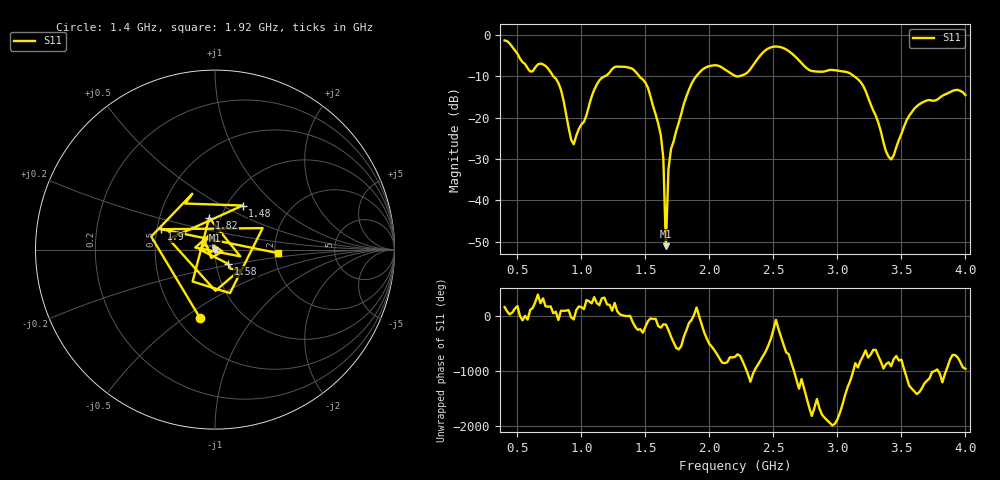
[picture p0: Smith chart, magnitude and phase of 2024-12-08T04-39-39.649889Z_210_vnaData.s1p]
!Created with skrf (http://scikit-rf.org).
# Hz S RI R 50.0
!freq ReS11 ImS11
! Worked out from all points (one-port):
!   181 points, 400 MHz to 4 GHz, reference 50 ohm
!   lowest |S11| = -51.1 dB at 1.66 GHz (marker M1), VSWR 1.01, Z = 49.8 - j0.13 ohm
!   |S11| at or under -10 dB: 780.5 MHz to 1.182 GHz (401.3 MHz wide, 40.9 % of centre); 1.453 GHz to 1.897 GHz (444 MHz wide, 26.5 % of centre); 3.132 GHz to end of sweep (the widest 3 of 4)
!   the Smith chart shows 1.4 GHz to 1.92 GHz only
!   S11 on the Smith chart (normalised r, x): 1.4 GHz: 0.64, -0.58; 1.48 GHz: 1.18, +0.63; 1.58 GHz: 1.15, -0.19; 1.82 GHz: 0.88, +0.32; 1.9 GHz: 0.53, +0.13; 1.92 GHz: 2.07, -0.09
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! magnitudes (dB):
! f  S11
! 400 MHz  -1.3
! 600 MHz  -8.8
! 720 MHz  -7.5
! 860 MHz  -15.8
! 940 MHz  -26.5
! 1.12 GHz  -12.0
! 1.3 GHz  -7.7
! 1.4 GHz  -8.2
! 1.48 GHz  -10.8
! 1.58 GHz  -19.2
! 1.64 GHz  -29.7
! 1.66 GHz  -51.1
! 1.68 GHz  -32.5
! 1.76 GHz  -21.3
! 1.82 GHz  -14.9
! 1.9 GHz  -9.9
! 1.92 GHz  -9.1
! 2.06 GHz  -7.4
! 2.2 GHz  -9.9
! 2.48 GHz  -3.0
! 2.66 GHz  -4.9
! 2.8 GHz  -8.7
! 3.1 GHz  -9.3
! 3.22 GHz  -13.5
! 3.42 GHz  -30.1
! 3.56 GHz  -19.6
! 3.9 GHz  -13.5
! 4 GHz  -14.5
